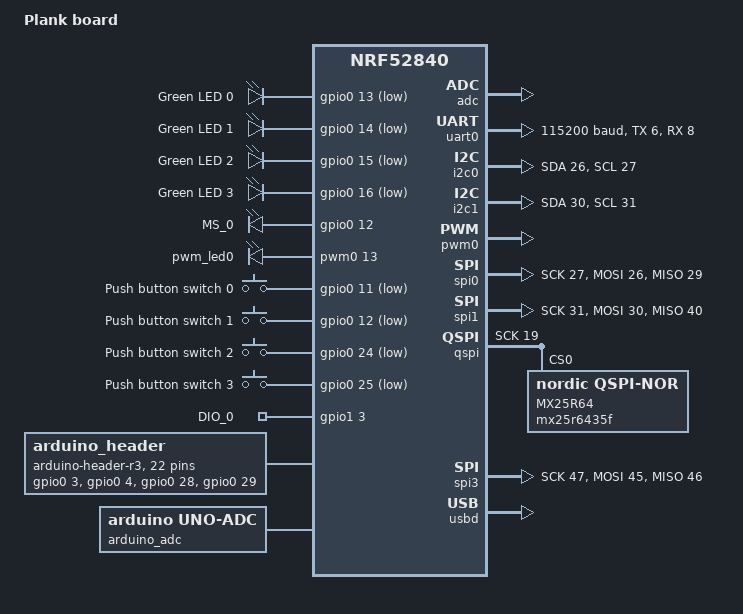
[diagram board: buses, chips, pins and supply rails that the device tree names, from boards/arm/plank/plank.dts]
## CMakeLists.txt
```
#
# Copyright (c) 2018 Nordic Semiconductor
#
# SPDX-License-Identifier: LicenseRef-Nordic-5-Clause
#
cmake_minimum_required(VERSION 3.20.0)

list(APPEND BOARD_ROOT ${CMAKE_CURRENT_SOURCE_DIR})
set (OPENOCD_NRF5_SUBFAMILY "nrf52")

set(PM_STATIC_YML_FILE
  ${CMAKE_CURRENT_SOURCE_DIR}/boards/pm_static_${BOARD}.yml
  )

find_package(Zephyr REQUIRED HINTS $ENV{ZEPHYR_BASE})
project(NONE)

# NORDIC SDK APP START
target_sources(app PRIVATE
  src/main.c
)

# Preinitialization related to Thingy:53 DFU
target_sources_ifdef(CONFIG_BOARD_THINGY53_NRF5340_CPUAPP app PRIVATE
  boards/thingy53.c
)
target_sources_ifdef(CONFIG_BOARD_THINGY53_NRF5340_CPUAPP_NS app PRIVATE
  boards/thingy53.c
)


# NORDIC SDK APP END
zephyr_library_include_directories(.)
```

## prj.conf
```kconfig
#
# Copyright (c) 2018 Nordic Semiconductor
#
# SPDX-License-Identifier: LicenseRef-Nordic-5-Clause
#
CONFIG_NCS_SAMPLES_DEFAULTS=y

CONFIG_BT=y
CONFIG_BT_PERIPHERAL=y
CONFIG_BT_DEVICE_NAME="Nordic_LBS"

# Enable the LBS service
CONFIG_BT_LBS=y
CONFIG_BT_LBS_POLL_BUTTON=y
CONFIG_DK_LIBRARY=y

CONFIG_SYSTEM_WORKQUEUE_STACK_SIZE=2048

# Enable mcumgr.
CONFIG_MCUMGR=y

# Enable most core commands.
CONFIG_MCUMGR_CMD_IMG_MGMT=y
CONFIG_MCUMGR_CMD_OS_MGMT=y

# Ensure an MCUboot-compatible binary is generated.
CONFIG_BOOTLOADER_MCUBOOT=y

# Allow for large Bluetooth data packets.
CONFIG_BT_L2CAP_TX_MTU=252
CONFIG_BT_BUF_ACL_RX_SIZE=256

# Enable the Bluetooth (unauthenticated) and shell mcumgr transports.
CONFIG_MCUMGR_SMP_BT=y
CONFIG_MCUMGR_SMP_BT_AUTHEN=y

# Some command handlers require a large stack.
CONFIG_SYSTEM_WORKQUEUE_STACK_SIZE=4096

CONFIG_BT_LBS_SECURITY_ENABLED=y
```

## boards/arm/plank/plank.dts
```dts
/*
 * Copyright (c) 2017 Linaro Limited
 *
 * SPDX-License-Identifier: Apache-2.0
 */

/dts-v1/;
#include <nordic/nrf52840_qiaa.dtsi>

/ {
    model = "Plank board";
    compatible = "nordic,plank";

    chosen {
        zephyr,console = &uart0;
        zephyr,shell-uart = &uart0;
        zephyr,uart-mcumgr = &uart0;
        zephyr,bt-mon-uart = &uart0;
        zephyr,bt-c2h-uart = &uart0;
        zephyr,sram = &sram0;
        zephyr,flash = &flash0;
        zephyr,code-partition = &slot0_partition;
    };

    leds {
        compatible = "gpio-leds";
        led0: led_0 {
            gpios = <&gpio0 13 GPIO_ACTIVE_LOW>;
            label = "Green LED 0";
        };
        led1: led_1 {
            gpios = <&gpio0 14 GPIO_ACTIVE_LOW>;
            label = "Green LED 1";
        };
        led2: led_2 {
            gpios = <&gpio0 15 GPIO_ACTIVE_LOW>;
            label = "Green LED 2";
        };
        led3: led_3 {
            gpios = <&gpio0 16 GPIO_ACTIVE_LOW>;
            label = "Green LED 3";
        };
        ms0: ms_0{
            gpios = <&gpio0 12 (GPIO_PULL_UP | GPIO_ACTIVE_HIGH)>;
            label = "MS_0";
        };
    };

    pwmleds {
        compatible = "pwm-leds";
        pwm_led0: pwm_led_0 {
            pwms = <&pwm0 13>;
        };
    };

    buttons {
        compatible = "gpio-keys";
        button0: button_0 {
            gpios = <&gpio0 11 (GPIO_PULL_UP | GPIO_ACTIVE_LOW)>;
            label = "Push button switch 0";
        };
        button1: button_1 {
            gpios = <&gpio0 12 (GPIO_PULL_UP | GPIO_ACTIVE_LOW)>;
            label = "Push button switch 1";
        };
        button2: button_2 {
            gpios = <&gpio0 24 (GPIO_PULL_UP | GPIO_ACTIVE_LOW)>;
            label = "Push button switch 2";
        };
        button3: button_3 {
            gpios = <&gpio0 25 (GPIO_PULL_UP | GPIO_ACTIVE_LOW)>;
            label = "Push button switch 3";
        };
        dio0: dio_0{
            gpios = <&gpio1 3 (GPIO_PULL_UP | GPIO_ACTIVE_HIGH)>;
            label = "DIO_0";
        };
    };

    arduino_header: connector {
        compatible = "arduino-header-r3";
        #gpio-cells = <2>;
        gpio-map-mask = <0xffffffff 0xffffffc0>;
        gpio-map-pass-thru = <0 0x3f>;
        gpio-map = <0 0 &gpio0 3 0>,    /* A0 */
               <1 0 &gpio0 4 0>,    /* A1 */
               <2 0 &gpio0 28 0>,    /* A2 */
               <3 0 &gpio0 29 0>,    /* A3 */
               <4 0 &gpio0 30 0>,    /* A4 */
               <5 0 &gpio0 31 0>,    /* A5 */
               <6 0 &gpio1 1 0>,    /* D0 */
               <7 0 &gpio1 2 0>,    /* D1 */
               <8 0 &gpio1 3 0>,    /* D2 */
               <9 0 &gpio1 4 0>,    /* D3 */
               <10 0 &gpio1 5 0>,    /* D4 */
               <11 0 &gpio1 6 0>,    /* D5 */
               <12 0 &gpio1 7 0>,    /* D6 */
               <13 0 &gpio1 8 0>,    /* D7 */
               <14 0 &gpio1 10 0>,    /* D8 */
               <15 0 &gpio1 11 0>,    /* D9 */
               <16 0 &gpio1 12 0>,    /* D10 */
               <17 0 &gpio1 13 0>,    /* D11 */
               <18 0 &gpio1 14 0>,    /* D12 */
               <19 0 &gpio1 15 0>,    /* D13 */
               <20 0 &gpio0 26 0>,    /* D14 */
               <21 0 &gpio0 27 0>;    /* D15 */
    };

    arduino_adc: analog-connector {
        compatible = "arduino,uno-adc";
        #io-channel-cells = <1>;
        io-channel-map = <0 &adc 1>,    /* A0 = P0.3 = AIN1 */
                 <1 &adc 2>,    /* A1 = P0.4 = AIN2 */
                 <2 &adc 4>,    /* A2 = P0.28 = AIN4 */
                 <3 &adc 5>,    /* A3 = P0.29 = AIN5 */
                 <4 &adc 6>,    /* A4 = P0.30 = AIN6 */
                 <5 &adc 7>;    /* A5 = P0.31 = AIN7 */
    };

    /* These aliases are provided for compatibility with samples */
    aliases {
        led0 = &led0;
        led1 = &led1;
        led2 = &led2;
        led3 = &led3;
        pwm-led0 = &pwm_led0;
        sw0 = &button0;
        sw1 = &button1;
        sw2 = &button2;
        sw3 = &button3;
        dio0 = &dio0;
        ms0 = &ms0;
    };
};

&adc {
    status = "okay";
};

&gpiote {
    status = "okay";
};

&gpio0 {
    status = "okay";
};

&gpio1 {
    status = "okay";
};

&uart0 {
    compatible = "nordic,nrf-uarte";
    status = "okay";
    current-speed = <115200>;
    tx-pin = <6>;
    rx-pin = <8>;
    rts-pin = <5>;
    cts-pin = <7>;
};

arduino_i2c: &i2c0 {
    compatible = "nordic,nrf-twi";
    status = "okay";
    sda-pin = <26>;
    scl-pin = <27>;
};

&i2c1 {
    compatible = "nordic,nrf-twi";
    /* Cannot be used together with spi1. */
    /* status = "okay"; */
    sda-pin = <30>;
    scl-pin = <31>;
};

&pwm0 {
    status = "okay";
    ch0-pin = <13>;
    ch0-inverted;
};

&spi0 {
    compatible = "nordic,nrf-spi";
    /* Cannot be used together with i2c0. */
    /* status = "okay"; */
    sck-pin = <27>;
    mosi-pin = <26>;
    miso-pin = <29>;
};

&spi1 {
    compatible = "nordic,nrf-spi";
    status = "okay";
    sck-pin = <31>;
    mosi-pin = <30>;
    miso-pin = <40>;
};

&spi2 {
    compatible = "nordic,nrf-spi";
    status = "disabled";
    sck-pin = <19>;
    mosi-pin = <20>;
    miso-pin = <21>;
};

&qspi {
    status = "okay";
    sck-pin = <19>;
    io-pins = <20>, <21>, <22>, <23>;
    csn-pins = <17>;
    mx25r64: mx25r6435f@0 {
        compatible = "nordic,qspi-nor";
        reg = <0>;
        /* MX24R64 supports only pp and pp4io */
        writeoc = "pp4io";
        /* MX24R64 supports all readoc options */
        readoc = "read4io";
        sck-frequency = <8000000>;
        label = "MX25R64";
        jedec-id = [c2 28 17];
        sfdp-bfp = [
            e5 20 f1 ff  ff ff ff 03  44 eb 08 6b  08 3b 04 bb
            ee ff ff ff  ff ff 00 ff  ff ff 00 ff  0c 20 0f 52
            10 d8 00 ff  23 72 f5 00  82 ed 04 cc  44 83 68 44
            30 b0 30 b0  f7 c4 d5 5c  00 be 29 ff  f0 d0 ff ff
        ];
        size = <67108864>;
        has-dpd;
        t-enter-dpd = <10000>;
        t-exit-dpd = <35000>;
    };
};

arduino_spi: &spi3 {
    status = "okay";
    sck-pin = <47>;
    miso-pin = <46>;
    mosi-pin = <45>;
    cs-gpios = <&arduino_header 16 GPIO_ACTIVE_LOW>; /* D10 */
};

&flash0 {

    partitions {
        compatible = "fixed-partitions";
        #address-cells = <1>;
        #size-cells = <1>;

        boot_partition: partition@0 {
            label = "mcuboot";
            reg = <0x000000000 0x0000C000>;
        };
        slot0_partition: partition@c000 {
            label = "image-0";
            reg = <0x0000C000 0x00067000>;
        };
        slot1_partition: partition@73000 {
            label = "image-1";
            reg = <0x00073000 0x00067000>;
        };
        scratch_partition: partition@da000 {
            label = "image-scratch";
            reg = <0x000da000 0x0001e000>;
        };

        /*
         * The flash starting at 0x000f8000 and ending at
         * 0x000fffff is reserved for use by the application.
         */

        /*
         * Storage partition will be used by FCB/LittleFS/NVS
         * if enabled.
         */
        storage_partition: partition@f8000 {
            label = "storage";
            reg = <0x000f8000 0x00008000>;
        };
    };
};

&usbd {
    compatible = "nordic,nrf-usbd";
    status = "okay";
};
```

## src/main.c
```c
/*
 * Copyright (c) 2018 Nordic Semiconductor ASA
 *
 * SPDX-License-Identifier: LicenseRef-Nordic-5-Clause
 */

#include <mgmt/mcumgr/smp_bt.h>
#include "os_mgmt/os_mgmt.h"
#include "img_mgmt/img_mgmt.h"

#include <zephyr/types.h>
#include <stddef.h>
#include <string.h>
#include <errno.h>
#include <sys/printk.h>
#include <sys/byteorder.h>
#include <zephyr.h>
#include <drivers/gpio.h>
#include <soc.h>

#include <bluetooth/bluetooth.h>
#include <bluetooth/hci.h>
#include <bluetooth/conn.h>
#include <bluetooth/uuid.h>
#include <bluetooth/gatt.h>

#include <bluetooth/services/lbs.h>

#include <settings/settings.h>

#include <dk_buttons_and_leds.h>

#define DEVICE_NAME             CONFIG_BT_DEVICE_NAME
#define DEVICE_NAME_LEN         (sizeof(DEVICE_NAME) - 1)


#define RUN_STATUS_LED          DK_LED1
#define CON_STATUS_LED          DK_LED2
#define RUN_LED_BLINK_INTERVAL  1000

#define USER_LED                DK_LED3

#define USER_BUTTON             DK_BTN1_MSK

static bool app_button_state;

static const struct bt_data ad[] = {
	BT_DATA_BYTES(BT_DATA_FLAGS, (BT_LE_AD_GENERAL | BT_LE_AD_NO_BREDR)),
	BT_DATA(BT_DATA_NAME_COMPLETE, DEVICE_NAME, DEVICE_NAME_LEN),
};

static const struct bt_data sd[] = {
	BT_DATA_BYTES(BT_DATA_UUID128_ALL,
		      0x84, 0xaa, 0x60, 0x74, 0x52, 0x8a, 0x8b, 0x86,
		      0xd3, 0x4c, 0xb7, 0x1d, 0x1d, 0xdc, 0x53, 0x8d),
};

static void connected(struct bt_conn *conn, uint8_t err)
{
	if (err) {
		printk("Connection failed (err %u)\n", err);
		return;
	}

	printk("Connected\n");

	dk_set_led_on(CON_STATUS_LED);
}

static void disconnected(struct bt_conn *conn, uint8_t reason)
{
	printk("Disconnected (reason %u)\n", reason);

	dk_set_led_off(CON_STATUS_LED);
}

#ifdef CONFIG_BT_LBS_SECURITY_ENABLED
static void security_changed(struct bt_conn *conn, bt_security_t level,
			     enum bt_security_err err)
{
	char addr[BT_ADDR_LE_STR_LEN];

	bt_addr_le_to_str(bt_conn_get_dst(conn), addr, sizeof(addr));

	if (!err) {
		printk("Security changed: %s level %u\n", addr, level);
	} else {
		printk("Security failed: %s level %u err %d\n", addr, level,
			err);
	}
}
#endif

static struct bt_conn_cb conn_callbacks = {
	.connected        = connected,
	.disconnected     = disconnected,
#ifdef CONFIG_BT_LBS_SECURITY_ENABLED
	.security_changed = security_changed,
#endif
};

#if defined(CONFIG_BT_LBS_SECURITY_ENABLED)
static void auth_passkey_display(struct bt_conn *conn, unsigned int passkey)
{
	char addr[BT_ADDR_LE_STR_LEN];

	bt_addr_le_to_str(bt_conn_get_dst(conn), addr, sizeof(addr));

	printk("Passkey for %s: %06u\n", addr, passkey);
}

static void auth_cancel(struct bt_conn *conn)
{
	char addr[BT_ADDR_LE_STR_LEN];

	bt_addr_le_to_str(bt_conn_get_dst(conn), addr, sizeof(addr));

	printk("Pairing cancelled: %s\n", addr);
}

static void pairing_complete(struct bt_conn *conn, bool bonded)
{
	char addr[BT_ADDR_LE_STR_LEN];

	bt_addr_le_to_str(bt_conn_get_dst(conn), addr, sizeof(addr));

	printk("Pairing completed: %s, bonded: %d\n", addr, bonded);
}

static void pairing_failed(struct bt_conn *conn, enum bt_security_err reason)
{
	char addr[BT_ADDR_LE_STR_LEN];

	bt_addr_le_to_str(bt_conn_get_dst(conn), addr, sizeof(addr));

	printk("Pairing failed conn: %s, reason %d\n", addr, reason);
}

static struct bt_conn_auth_cb conn_auth_callbacks = {
	.passkey_display = auth_passkey_display,
	.cancel = auth_cancel,
	.pairing_complete = pairing_complete,
	.pairing_failed = pairing_failed
};
#else
static struct bt_conn_auth_cb conn_auth_callbacks;
#endif

static void app_led_cb(bool led_state)
{
	dk_set_led(USER_LED, led_state);
}

static bool app_button_cb(void)
{
	return app_button_state;
}

static struct bt_lbs_cb lbs_callbacs = {
	.led_cb    = app_led_cb,
	.button_cb = app_button_cb,
};

static void button_changed(uint32_t button_state, uint32_t has_changed)
{
	if (has_changed & USER_BUTTON) {
		uint32_t user_button_state = button_state & USER_BUTTON;

		bt_lbs_send_button_state(user_button_state);
		app_button_state = user_button_state ? true : false;
	}
}

static int init_button(void)
{
	int err;

	err = dk_buttons_init(button_changed);
	if (err) {
		printk("Cannot init buttons (err: %d)\n", err);
	}

	return err;
}

void main(void)
{
	int blink_status = 0;
	int err;

	printk("Starting Bluetooth Peripheral LBS example\n");

	err = dk_leds_init();
	if (err) {
		printk("LEDs init failed (err %d)\n", err);
		return;
	}

	err = init_button();
	if (err) {
		printk("Button init failed (err %d)\n", err);
		return;
	}

	printk("build time: " __DATE__ " " __TIME__ "\n");
	os_mgmt_register_group();
	img_mgmt_register_group();
	smp_bt_register();

	bt_conn_cb_register(&conn_callbacks);
	if (IS_ENABLED(CONFIG_BT_LBS_SECURITY_ENABLED)) {
		bt_conn_auth_cb_register(&conn_auth_callbacks);
	}

	err = bt_enable(NULL);
	if (err) {
		printk("Bluetooth init failed (err %d)\n", err);
		return;
	}

	printk("Bluetooth initialized\n");

	if (IS_ENABLED(CONFIG_SETTINGS)) {
		settings_load();
	}

	err = bt_lbs_init(&lbs_callbacs);
	if (err) {
		printk("Failed to init LBS (err:%d)\n", err);
		return;
	}

	err = bt_le_adv_start(BT_LE_ADV_CONN, ad, ARRAY_SIZE(ad),
			      sd, ARRAY_SIZE(sd));
	if (err) {
		printk("Advertising failed to start (err %d)\n", err);
		return;
	}

	printk("Advertising successfully started\n");

	for (;;) {
		dk_set_led(RUN_STATUS_LED, (++blink_status) % 2);
		k_sleep(K_MSEC(RUN_LED_BLINK_INTERVAL));
	}
}
```
